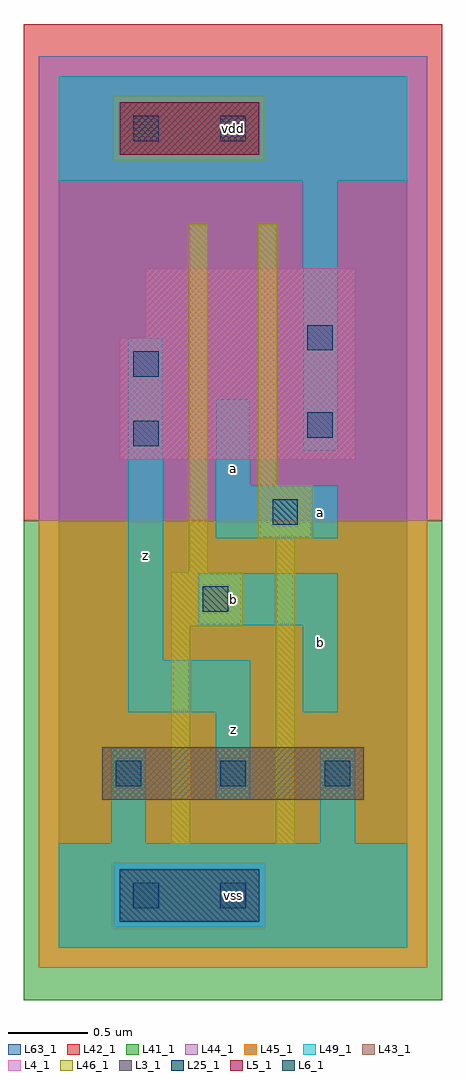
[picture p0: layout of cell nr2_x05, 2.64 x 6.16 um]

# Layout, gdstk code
import gdstk
lib = gdstk.Library(unit=1e-6, precision=1e-09)
def R(c, l, rs):  # rectangles x0, y0, x1, y1
    for r in rs: c.add(gdstk.rectangle(r[:2], r[2:], *l))
def A(c, l, x, y, w, h, nx, ny, dx, dy):  # array of equal rectangles
    R(c, l, [(x+i*dx, y+j*dy, x+i*dx+w, y+j*dy+h) for i in range(nx) for j in range(ny)])
L3_1 = (3, 1)
L4_1 = (4, 1)
L5_1 = (5, 1)
L6_1 = (6, 1)
L25_1 = (25, 1)
L41_1 = (41, 1)
L42_1 = (42, 1)
L43_1 = (43, 1)
L44_1 = (44, 1)
L45_1 = (45, 1)
L46_1 = (46, 1)
L49_1 = (49, 1)
L63_1 = (63, 1)

nr2_x05 = lib.new_cell('nr2_x05')
R(nr2_x05, L3_1, [(0.275,0.935,1.925,1.265)])
R(nr2_x05, L4_1, [(0.385,3.08,1.87,3.85), (0.55,3.85,1.87,4.29)])
R(nr2_x05, L5_1, [(0.385,5.005,1.265,5.335)])
R(nr2_x05, L6_1, [(0.385,0.165,1.265,0.495)])
A(nr2_x05, L25_1, 0.36, 1.02, 0.16, 0.16, 3, 1, 0.66, 0)
R(nr2_x05, L25_1, [(0.47,0.25,0.63,0.41), (1.02,0.25,1.18,0.41), (0.91,2.12,1.07,2.28), (1.35,2.67,1.51,2.83), (0.47,3.165,0.63,3.325), (1.57,3.22,1.73,3.38), (0.47,3.605,0.63,3.765), (1.57,3.77,1.73,3.93), (0.47,5.09,0.63,5.25), (1.02,5.09,1.18,5.25)])
R(nr2_x05, L41_1, [(-0.22,-0.33,2.42,2.695)])
R(nr2_x05, L42_1, [(-0.22,2.695,2.42,5.83)])
R(nr2_x05, L43_1, [(0.385,0.165,1.265,0.495), (0.275,0.935,1.925,1.265), (0.385,3.08,1.87,3.85), (0.55,3.85,1.87,4.29), (0.385,5.005,1.265,5.335)])
R(nr2_x05, L44_1, [(0.345,0.125,1.305,0.535), (-0.125,2.695,2.325,4.965), (-0.125,4.965,0.345,5.375), (1.305,4.965,2.325,5.375), (-0.125,5.375,2.325,5.625)])
R(nr2_x05, L45_1, [(-0.125,-0.125,2.325,0.125), (-0.125,0.125,0.345,0.535), (1.305,0.125,2.325,0.535), (-0.125,0.535,2.325,2.695), (0.345,4.965,1.305,5.375)])
R(nr2_x05, L46_1, [(0.71,0.655,0.83,2.03), (1.37,0.655,1.49,2.58), (0.71,2.03,1.16,2.37), (0.82,2.37,0.94,4.57), (1.26,2.58,1.6,2.92), (1.26,2.92,1.38,4.57)])
R(nr2_x05, L49_1, [(0,0,2.2,0.66), (0.33,0.66,0.55,1.265), (1.65,0.66,1.87,1.265), (0.99,0.935,1.21,1.485), (0.44,1.485,1.21,1.815), (1.54,1.485,1.76,2.035), (0.44,1.815,0.66,3.85), (0.88,2.035,1.76,2.365), (0.99,2.585,1.76,2.915), (0.99,2.915,1.21,3.465), (1.54,3.135,1.76,4.84), (0,4.84,2.2,5.5)])
R(nr2_x05, L63_1, [(0,0,2.2,5.5)])
nr2_x05.add(gdstk.Label('z', (0.55,2.475), layer=49, texttype=1))
nr2_x05.add(gdstk.Label('z', (0.55,2.475), layer=49, texttype=1))
nr2_x05.add(gdstk.Label('vss', (1.1,0.33), layer=49, texttype=1))
nr2_x05.add(gdstk.Label('vss', (1.1,0.33), layer=49, texttype=1))
nr2_x05.add(gdstk.Label('z', (1.1,1.375), layer=49, texttype=1))
nr2_x05.add(gdstk.Label('z', (1.1,1.375), layer=49, texttype=1))
nr2_x05.add(gdstk.Label('b', (1.1,2.2), layer=49, texttype=1))
nr2_x05.add(gdstk.Label('b', (1.1,2.2), layer=49, texttype=1))
nr2_x05.add(gdstk.Label('a', (1.1,3.025), layer=49, texttype=1))
nr2_x05.add(gdstk.Label('a', (1.1,3.025), layer=49, texttype=1))
nr2_x05.add(gdstk.Label('vdd', (1.1,5.17), layer=49, texttype=1))
nr2_x05.add(gdstk.Label('vdd', (1.1,5.17), layer=49, texttype=1))
nr2_x05.add(gdstk.Label('b', (1.65,1.925), layer=49, texttype=1))
nr2_x05.add(gdstk.Label('b', (1.65,1.925), layer=49, texttype=1))
nr2_x05.add(gdstk.Label('a', (1.65,2.75), layer=49, texttype=1))
nr2_x05.add(gdstk.Label('a', (1.65,2.75), layer=49, texttype=1))

lib.write_gds('nr2_x05.gds')
